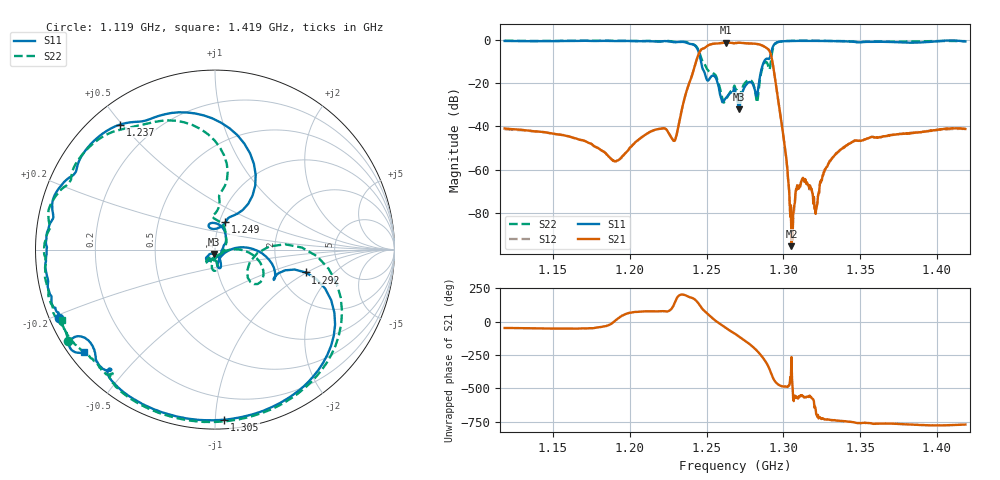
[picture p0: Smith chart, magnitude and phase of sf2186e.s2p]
# Hz S RI R 50
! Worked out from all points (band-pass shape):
!   801 points, 1.119 GHz to 1.419 GHz, reference 50 ohm
!   highest |S21| = -1.19 dB at 1.263 GHz (marker M1); lowest = -95.4 dB at 1.305 GHz (marker M2)
!   |S21| within 3 dB of the highest: 1.247 GHz to 1.29 GHz (43.02 MHz wide, 3.39 % of centre)
!   lowest |S11| = -32.1 dB at 1.271 GHz (marker M3), VSWR 1.05, Z = 49.3 - j2.36 ohm
!   |S11| at or under -10 dB: 1.246 GHz to 1.287 GHz (41.06 MHz wide, 3.24 % of centre)
!   |S22| runs from -28.9 to -0.3 dB; largest |S21 - S12| = 0.0028
!   S11 on the Smith chart (normalised r, x): 1.119 GHz: 0.03, -0.21; 1.237 GHz: 0.08, +0.49; 1.249 GHz: 1.07, +0.33; 1.292 GHz: 2.79, -0.97; 1.305 GHz: 0.06, -1.05; 1.419 GHz: 0.04, -0.34
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1.11852e9  -0.8687 -0.3815  0.00599 -0.0067  0.00613 -0.006  -0.8192 -0.5077
1.16877e9  -0.9038 -0.3154  0.00305 -0.00376  0.00305 -0.00374  -0.8908 -0.3713
1.190895e9  -0.932 -0.1626  0.00155 0.000279  0.00154 0.000259  -0.9285 -0.2271
1.218645e9  -0.9004 0.1808  0.00202 0.00847  0.00203 0.00846  -0.9257 0.1064
1.229145e9  -0.7796 0.4274  -0.00334 0.00323  -0.00331 0.0032  -0.8348 0.3523
1.236645e9  -0.5297 0.6963  -0.0581 -0.015  -0.058 -0.0151  -0.6657 0.6017
1.24452e9  0.1952 0.5366  -0.3322 0.291  -0.3317 0.2904  -0.0017 0.6076
1.24902e9  0.0584 0.1521  0.1669 0.644  0.1648 0.643  0.0253 0.2655
1.255395e9  0.0174 0.1417  0.8144 0.1464  0.8124 0.1476  0.0204 0.1586
1.262895e9  -0.00418 -0.0465  0.5617 -0.6667  0.5622 -0.6639  -0.00537 -0.044
1.26852e9  -0.05 -0.0464  -0.014 -0.8493  -0.0125 -0.8477  -0.049 -0.0659
1.271145e9  -0.00628 -0.0239  -0.318 -0.8052  -0.3164 -0.8046  -0.0159 -0.0466
1.279395e9  0.0197 -0.1008  -0.8302 0.0214  -0.8286 0.02  -0.0137 -0.1108
1.285395e9  0.1854 0.0101  -0.2413 0.7292  -0.2418 0.7282  0.1645 -0.00601
1.292145e9  0.5045 -0.1271  0.3635 -0.2121  0.3628 -0.2114  0.391 0.0294
1.304895e9  0.0515 -0.9475  5.08e-05 -0.000142  4.02e-05 -0.00014  0.0956 -0.9516
1.30527e9  0.0362 -0.9485  -1.29e-06 1.69e-05  1.48e-05 1.19e-05  0.0791 -0.9535
1.31277e9  -0.1999 -0.9328  -0.000624 0.000176  -0.000605 0.000184  -0.1686 -0.9476
1.31877e9  -0.3239 -0.8952  -0.000244 0.000169  -0.00024 0.000176  -0.2987 -0.915
1.337895e9  -0.5511 -0.7568  0.00281 -0.00114  0.00279 -0.00115  -0.533 -0.7814
1.368645e9  -0.6635 -0.6134  0.00451 -0.00412  0.00455 -0.00409  -0.6525 -0.6406
1.41852e9  -0.7293 -0.5707  0.00571 -0.00665  0.00457 -0.00741  -0.854 -0.3934
